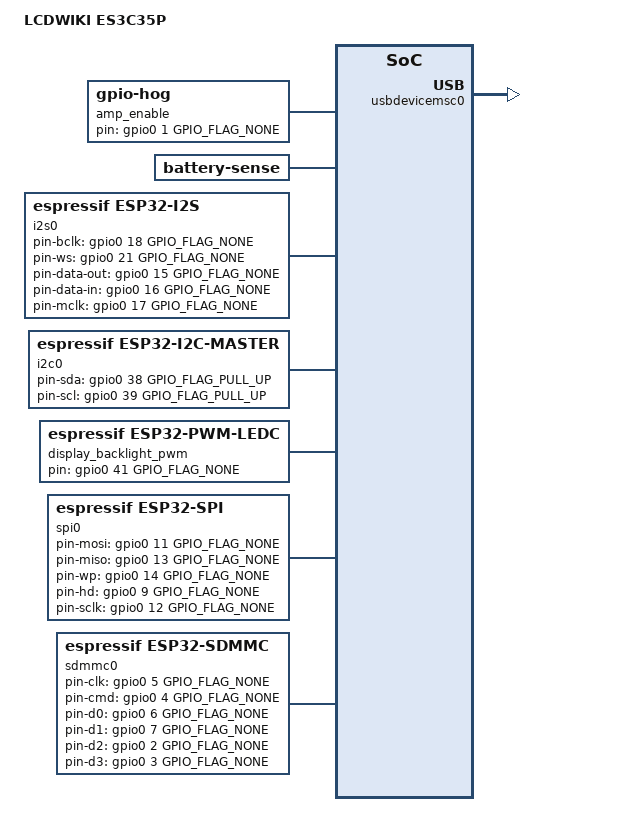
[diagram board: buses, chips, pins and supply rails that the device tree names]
/dts-v1/;

#include <tactility/bindings/root.h>
#include <tactility/bindings/esp32_adc_oneshot.h>
#include <tactility/bindings/esp32_ble.h>
#include <tactility/bindings/esp32_gpio.h>
#include <tactility/bindings/esp32_i2c_master.h>
#include <tactility/bindings/esp32_i2s.h>
#include <tactility/bindings/esp32_pwm_ledc.h>
#include <tactility/bindings/esp32_sdmmc.h>
#include <tactility/bindings/esp32_spi.h>
#include <tactility/bindings/esp32_usbdevice.h>
#include <tactility/bindings/esp32_wifi_pinned.h>
#include <tactility/bindings/battery_sense.h>
#include <tactility/bindings/gpio_hog.h>
#include <tactility/bindings/pwm_backlight.h>
#include <bindings/st77922.h>
#include <bindings/st77922_touch.h>
#include <bindings/es8311.h>

// Also sold by Elecrow as the 3.5" ESP32-S3 Display (SKU DLE06235B).
// Pin reference: https://www.lcdwiki.com/3.5inch_ESP32-S3_Display and the xiaozhi-esp32
// lcdwiki-es3c35p board.
/ {
	compatible = "root";
	model = "LCDWIKI ES3C35P";

	wifi0 {
		compatible = "espressif,esp32-wifi-pinned";
	};

	ble0 {
		compatible = "espressif,esp32-ble";
	};

	gpio0 {
		compatible = "espressif,esp32-gpio";
		gpio-count = <49>;
	};

	/* SC8002B speaker amp shutdown, active-low enable on GPIO1 */
	amp_enable {
		compatible = "gpio-hog";
		pin = <&gpio0 1 GPIO_FLAG_NONE>;
		mode = <GPIO_HOG_MODE_OUTPUT_LOW>;
	};

	adc0 {
		compatible = "espressif,esp32-adc-oneshot";
		unit-id = <ADC_UNIT_1>;
		clk-src = <ADC_RTC_CLK_SRC_DEFAULT>;
		channels = <ADC_CHANNEL_7 ADC_ATTEN_DB_12 ADC_BITWIDTH_DEFAULT>;
	};

	/* BAT+ into GPIO8 ADC1_CH7. Divider assumed to match the ES3C28P (200K/200K), unverified. */
	battery-sense {
		compatible = "battery-sense";
		io-channel = <&adc0 0>;
		reference-voltage-mv = <3300>;
		multiplier = <2000>;
	};

	/* i2s0 must be before i2c0 so codec can reference it */
	i2s0 {
		compatible = "espressif,esp32-i2s";
		port = <I2S_NUM_0>;
		pin-bclk = <&gpio0 18 GPIO_FLAG_NONE>;
		pin-ws = <&gpio0 21 GPIO_FLAG_NONE>;
		pin-data-out = <&gpio0 15 GPIO_FLAG_NONE>;
		pin-data-in = <&gpio0 16 GPIO_FLAG_NONE>;
		pin-mclk = <&gpio0 17 GPIO_FLAG_NONE>;
	};

	i2c0 {
		compatible = "espressif,esp32-i2c-master";
		port = <I2C_NUM_0>;
		clock-frequency = <400000>;
		pin-sda = <&gpio0 38 GPIO_FLAG_PULL_UP>;
		pin-scl = <&gpio0 39 GPIO_FLAG_PULL_UP>;

		/* Touch part of the ST77922 TDDI. Interrupt (GPIO47) unused: the controller is polled. */
		touch0 {
			compatible = "sitronix,st77922-touch";
			reg = <0x55>;
			x-max = <320>;
			y-max = <480>;
			pin-reset = <&gpio0 48 GPIO_FLAG_NONE>;
		};

		es8311: es8311@18 {
			compatible = "everest,es8311";
			reg = <0x18>;
			i2s = <&i2s0>;
		};
	};

	display_backlight_pwm {
		compatible = "espressif,esp32-pwm-ledc";
		pin = <&gpio0 41 GPIO_FLAG_NONE>;
		period-ns = <500000>;
		ledc-timer = <0>;
		ledc-channel = <0>;
	};

	display_backlight {
		compatible = "pwm-backlight";
		// Off by default so display power-on won't show the screen from before the last power loss.
		// The display backlight is turned on during the boot process.
		status = "disabled";
		pwm = <&display_backlight_pwm>;
	};

	/* Display on QSPI: CS=10, CLK=12, D0..D3=11,13,14,9. Panel reset is tied to EN. */
	spi0 {
		compatible = "espressif,esp32-spi";
		host = <SPI2_HOST>;
		cs-gpios = <&gpio0 10 GPIO_FLAG_NONE>;
		pin-mosi = <&gpio0 11 GPIO_FLAG_NONE>;
		pin-miso = <&gpio0 13 GPIO_FLAG_NONE>;
		pin-wp = <&gpio0 14 GPIO_FLAG_NONE>;
		pin-hd = <&gpio0 9 GPIO_FLAG_NONE>;
		pin-sclk = <&gpio0 12 GPIO_FLAG_NONE>;
		max-transfer-size = <65536>;

		display@0 {
			compatible = "sitronix,st77922";
			horizontal-resolution = <320>;
			vertical-resolution = <480>;
			invert-color;
			pixel-clock-hz = <40000000>;
			backlight = <&display_backlight>;

			init-sequence = [
				// Vendor bring-up sequence for this panel, from the xiaozhi-esp32
				// lcdwiki-es3c35p board. Framing is [cmd, data-len, delay-ms, data...] -
				// see st77922-module's init-sequence binding property.
				0xF1 1 0    0x00
				0x60 3 0    0x00 0x00 0x00
				0x65 1 0    0x80
				0x79 1 0    0x06
				0x7B 3 0    0x00 0x08 0x08
				0x80 11 0    0x55 0x62 0x2F 0x17 0xF0 0x52 0x70 0xD2 0x52 0x62 0xEA
				0x81 4 0    0x26 0x52 0x72 0x27
				0x84 2 0    0x92 0x25
				0x87 6 0    0x10 0x10 0x58 0x00 0x02 0x3A
				0x88 15 0    0x00 0x00 0x2C 0x10 0x04 0x00 0x00 0x00 0x01 0x01 0x01 0x01 0x01 0x00 0x06
				0x89 3 0    0x00 0x00 0x00
				0x8A 11 0    0x13 0x00 0x2C 0x00 0x00 0x2C 0x10 0x10 0x00 0x3E 0x19
				0x8B 9 0    0x15 0xB1 0xB1 0x44 0x96 0x2C 0x10 0x97 0x8E
				0x8C 13 0    0x1D 0xB1 0xB1 0x44 0x96 0x2C 0x10 0x50 0x0F 0x01 0xC5 0x12 0x09
				0x8D 1 0    0x0C
				0x8E 6 0    0x33 0x01 0x0C 0x13 0x01 0x01
				0xB3 2 0    0x00 0x30
				0xF1 1 0    0x00
				0x71 1 0    0xD0
				0x66 2 0    0x02 0x3F
				0xBE 3 0    0x26 0x00 0x9D
				0x70 12 0    0x01 0xA0 0x11 0x40 0xE0 0x00 0x11 0x69 0x11 0x00 0x00 0x1A
				0x90 9 0    0x04 0x04 0x55 0x74 0x00 0x40 0x43 0x27 0x27
				0x91 9 0    0x04 0x04 0x55 0x75 0x00 0x40 0x42 0x27 0x27
				0x92 10 0    0x04 0x44 0x55 0xC0 0x06 0x00 0x07 0x05 0x90 0x27
				0x93 10 0    0x04 0x43 0x11 0x00 0x00 0x00 0x00 0x05 0x90 0x27
				0x94 6 0    0x00 0x00 0x00 0x00 0x00 0x00
				0x95 5 0    0x96 0x16 0x00 0x00 0xFF
				0x96 12 0    0x44 0x53 0x03 0x12 0x23 0x24 0x06 0x05 0x94 0x27 0x00 0x44
				0x97 12 0    0x44 0x53 0x47 0x56 0x20 0x20 0x02 0x01 0x94 0x27 0x00 0x44
				0xBA 5 0    0x55 0x94 0x2D 0x94 0x27
				0x9A 7 0    0x40 0x00 0x06 0x00 0x00 0x00 0x00
				0x9B 7 0    0x00 0x00 0x06 0x00 0x00 0x00 0x00
				0x9C 13 0    0x5C 0x12 0x00 0x00 0x10 0x12 0x00 0x00 0x10 0x02 0x00 0x00 0x00
				0x9D 8 0    0x8A 0x51 0x00 0x00 0x00 0x80 0x1E 0x01
				0x9E 7 0    0x51 0x00 0x00 0x00 0x80 0x1E 0x01
				0xB4 12 0    0x1D 0x1C 0x1E 0x0B 0x14 0x02 0x13 0x09 0x1E 0x00 0x1E 0x10
				0xB5 12 0    0x1D 0x1C 0x1E 0x0A 0x15 0x03 0x11 0x08 0x1E 0x01 0x1E 0x12
				0xB6 7 0    0x77 0x77 0x00 0x0A 0xFF 0x0A 0xFF
				0x86 14 0    0xCD 0x04 0xB1 0x02 0x58 0x12 0x58 0x0C 0x13 0x01 0xA5 0x00 0xA5 0xA5
				0xB7 16 0    0x07 0x0A 0x0E 0x06 0x05 0x03 0x2B 0x03 0x03 0x42 0x07 0x10 0x10 0x2E 0x3F 0x0D
				0xB8 16 0    0x07 0x0A 0x0D 0x05 0x05 0x02 0x2B 0x02 0x03 0x42 0x06 0x10 0x0F 0x2E 0x3F 0x0D
				0xB9 2 0    0x23 0x23
				0xBF 6 0    0x10 0x14 0x14 0x0B 0x0B 0x0B
				0xF2 1 0    0x00
				0x73 5 0    0x04 0xDA 0x12 0x54 0x47
				0x77 5 0    0x6B 0x5B 0xFD 0xC3 0xC5
				0x7A 2 0    0x15 0x27
				0x7B 2 0    0x04 0x57
				0x7E 2 0    0x01 0x0E
				0xBF 1 0    0x36
				0xE3 2 0    0x40 0x40
				0xF0 1 0    0x00
				0xD0 1 0    0x00
				0x2A 4 0    0x00 0x00 0x01 0x3F
				0x2B 4 0    0x00 0x00 0x01 0xDF
				0x21 0 0
				0x11 0 120
				0x29 0 0
				0x2C 0 0
				0x3A 1 0    0x01
				0x36 1 0    0x00
				0x35 1 20    0x01
			];
		};
	};

	sdmmc0 {
		compatible = "espressif,esp32-sdmmc";
		pin-clk = <&gpio0 5 GPIO_FLAG_NONE>;
		pin-cmd = <&gpio0 4 GPIO_FLAG_NONE>;
		pin-d0 = <&gpio0 6 GPIO_FLAG_NONE>;
		pin-d1 = <&gpio0 7 GPIO_FLAG_NONE>;
		pin-d2 = <&gpio0 2 GPIO_FLAG_NONE>;
		pin-d3 = <&gpio0 3 GPIO_FLAG_NONE>;
		slot = <SDMMC_HOST_SLOT_1>;
		bus-width = <4>;
		// The SD lines have no external pull-ups
		pullups;
	};

	usbdevice0 {
		compatible = "espressif,esp32-usbdevice";

		usbdevicemsc0 {
			compatible = "espressif,esp32-usbdevice-msc";
		};
	};
};
